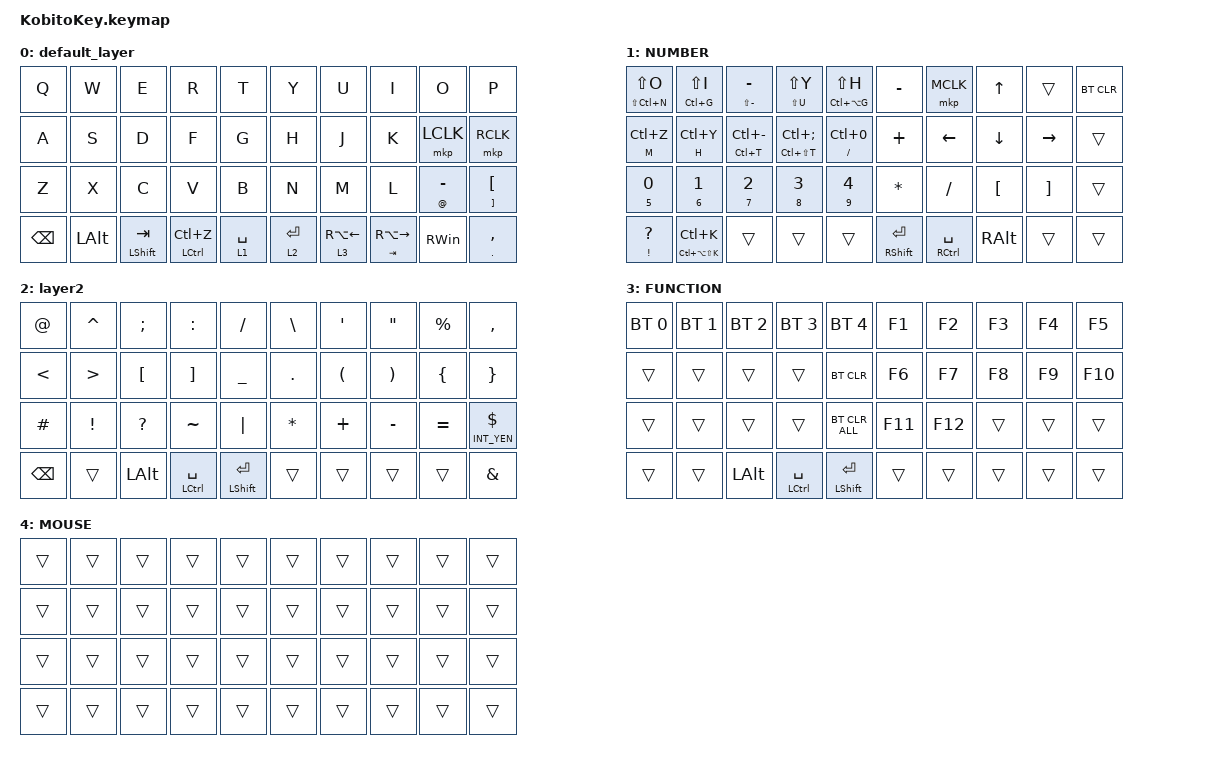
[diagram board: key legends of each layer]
#include <input/processors.dtsi>
#include <behaviors.dtsi>
#include <dt-bindings/zmk/bt.h>
#include <dt-bindings/zmk/keys.h>
#include <dt-bindings/zmk/pointing.h>

/ {
    combos {
        compatible = "zmk,combos";

        combo_esc {
            timeout-ms = <50>;
            key-positions = <0 1>;
            bindings = <&kp ESC>;
        };

        combo_tab {
            timeout-ms = <50>;
            key-positions = <17 16>;
            bindings = <&kp LANGUAGE_2>;
        };

        key2 {
            bindings = <&kp LANGUAGE_1>;
            key-positions = <13 12>;
        };

        m {
            bindings = <&mkp MB3>;
            key-positions = <>;
        };
    };

    keymap {
        compatible = "zmk,keymap";

        default_layer {
            bindings = <
&kp Q          &kp W         &kp E               &kp R                   &kp T        &kp Y        &kp U           &kp I                    &kp O              &kp P
&kp A          &kp S         &kp D               &kp F                   &kp G        &kp H        &kp J           &kp K                    &mkp LCLK          &mkp RCLK
&kp Z          &kp X         &kp C               &kp V                   &kp B        &kp N        &kp M           &kp L                    &mt AT_SIGN MINUS  &mt RIGHT_BRACKET LEFT_BRACKET
&kp BACKSPACE  &kp LEFT_ALT  &mt LEFT_SHIFT TAB  &mt LEFT_CONTROL LC(Z)  &lt 1 SPACE  &lt 2 ENTER  &lt 3 RA(LEFT)  &mt TAB RA(RIGHT_ARROW)  &kp RIGHT_WIN      &mt PERIOD COMMA
            >;
        };

        layer1 {
            label = "NUMBER";
            bindings = <
&mt LS(LC(N)) LS(O)       &mt LC(G) LS(I)          &mt LS(MINUS) MINUS    &mt LS(U) LS(Y)              &mt LC(LA(G)) LS(H)     &kp MINUS              &mkp MCLK                &kp UP         &trans     &bt BT_CLR
&mt M LC(Z)               &mt H LC(Y)              &mt LC(T) LC(MINUS)    &mt LC(LS(T)) LC(SEMICOLON)  &mt SLASH LC(NUMBER_0)  &kp PLUS               &kp LEFT                 &kp DOWN       &kp RIGHT  &trans
&mt NUMBER_5 NUMBER_0     &mt NUMBER_6 NUMBER_1    &mt NUMBER_7 NUMBER_2  &mt NUMBER_8 NUMBER_3        &mt NUMBER_9 NUMBER_4   &kp ASTRK              &kp SLASH                &kp LBKT       &kp RBKT   &trans
&mt EXCLAMATION QUESTION  &mt LC(LA(LS(K))) LC(K)  &trans                 &trans                       &trans                  &mt RIGHT_SHIFT ENTER  &mt RIGHT_CONTROL SPACE  &kp RIGHT_ALT  &trans     &trans
            >;
        };

        layer2 {
            bindings = <
&kp AT_SIGN    &kp CARET         &kp SEMICOLON     &kp COLON               &kp SLASH             &kp BACKSLASH  &kp SINGLE_QUOTE      &kp DOUBLE_QUOTES      &kp PERCENT     &kp COMMA
&kp LESS_THAN  &kp GREATER_THAN  &kp LEFT_BRACKET  &kp RIGHT_BRACKET       &kp UNDER             &kp DOT        &kp LEFT_PARENTHESIS  &kp RIGHT_PARENTHESIS  &kp LEFT_BRACE  &kp RIGHT_BRACE
&kp HASH       &kp EXCLAMATION   &kp QUESTION      &kp TILDE               &kp PIPE              &kp ASTRK      &kp PLUS              &kp MINUS              &kp EQUAL       &mt INT_YEN DOLLAR
&kp BACKSPACE  &trans            &kp LEFT_ALT      &mt LEFT_CONTROL SPACE  &mt LEFT_SHIFT ENTER  &trans         &trans                &trans                 &trans          &kp AMPERSAND
            >;
        };

        layer3 {
            label = "FUNCTION";
            bindings = <
&bt BT_SEL 0  &bt BT_SEL 1  &bt BT_SEL 2  &bt BT_SEL 3            &bt BT_SEL 4          &kp F1   &kp F2   &kp F3  &kp F4  &kp F5
&trans        &trans        &trans        &trans                  &bt BT_CLR            &kp F6   &kp F7   &kp F8  &kp F9  &kp F10
&trans        &trans        &trans        &trans                  &bt BT_CLR_ALL        &kp F11  &kp F12  &trans  &trans  &trans
&trans        &trans        &kp LEFT_ALT  &mt LEFT_CONTROL SPACE  &mt LEFT_SHIFT ENTER  &trans   &trans   &trans  &trans  &trans
            >;
        };

        layer4 {
            label = "MOUSE";
            bindings = <
&trans  &trans  &trans  &trans  &trans  &trans  &trans  &trans  &trans  &trans
&trans  &trans  &trans  &trans  &trans  &trans  &trans  &trans  &trans  &trans
&trans  &trans  &trans  &trans  &trans  &trans  &trans  &trans  &trans  &trans
&trans  &trans  &trans  &trans  &trans  &trans  &trans  &trans  &trans  &trans
            >;
        };
    };
};
